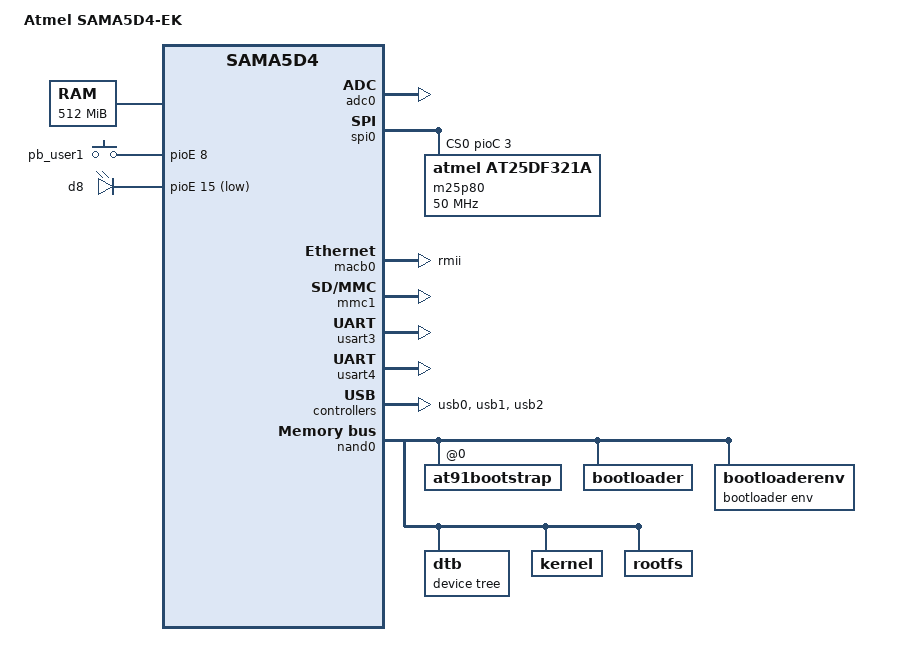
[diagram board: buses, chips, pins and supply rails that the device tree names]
/*
 * sama5d4_xplained.dts - Device Tree file for SAMA5D4 Xplained ULTRA
 *
 *  Copyright (C) 2014 Atmel,
 *                2014 Josh Wu <josh.wu@atmel.com>
 *
 * Licensed under GPLv2 or later.
 */
/dts-v1/;
#include "sama5d4.dtsi"

/ {
	model = "Atmel SAMA5D4-EK";
	compatible = "atmel,sama5d4-xplained", "atmel,sama5d4", "atmel,sama5";

	chosen {
		bootargs = "console=ttyS0,115200 ignore_loglevel earlyprintk";
	};

	memory {
		reg = <0x20000000 0x20000000>;
	};

	clocks {
		#address-cells = <1>;
		#size-cells = <1>;
		ranges;

		main_clock: clock@0 {
			compatible = "atmel,osc", "fixed-clock";
			clock-frequency = <12000000>;
		};
	};

	ahb {
		apb {
			adc0: adc@fc034000 {
				/* The vref depends on JP22 of EK. If connect 1-2 then use 3.3V. connect 2-3 use 3.0V */
				atmel,adc-vref = <3300>;
				/*atmel,adc-ts-wires = <4>;*/	/* Set up ADC touch screen */
				status = "okay";		/* Enable ADC IIO support */
			};

			spi0: spi@f8010000 {
				cs-gpios = <&pioC 3 0>, <0>, <0>, <0>;
				status = "okay";
				m25p80@0 {
					compatible = "atmel,at25df321a";
					spi-max-frequency = <50000000>;
					reg = <0>;
				};
			};

			macb0: ethernet@f8020000 {
				phy-mode = "rmii";
				status = "okay";
			};

			mmc1: mmc@fc000000 {
				pinctrl-names = "default";
				pinctrl-0 = <&pinctrl_mmc1_clk_cmd_dat0 &pinctrl_mmc1_dat1_3 &pinctrl_mmc1_cd>;
				status = "okay";
				slot@0 {
					reg = <0>;
					bus-width = <4>;
					cd-gpios = <&pioE 3 0>;
				};
			};

			usart3: serial@fc00c000 {
				status = "okay";
			};

			usart4: serial@fc010000 {
				status = "okay";
			};

			watchdog@fc068640 {
				status = "okay";
			};

			pinctrl@fc06a000 {
				board {
					pinctrl_mmc1_cd: mmc1_cd {
						atmel,pins =
							<AT91_PIOE 3 AT91_PERIPH_GPIO AT91_PINCTRL_PULL_UP_DEGLITCH>;
					};
					pinctrl_usba_vbus: usba_vbus {
						atmel,pins =
							<AT91_PIOE 31 AT91_PERIPH_GPIO AT91_PINCTRL_DEGLITCH>;
					};
					pinctrl_key_gpio: key_gpio_0 {
						atmel,pins =
							<AT91_PIOE 8 AT91_PERIPH_GPIO AT91_PINCTRL_PULL_UP_DEGLITCH>;
					};
				};
			};
		};

		usb0: gadget@00400000 {
			atmel,vbus-gpio = <&pioE 31 GPIO_ACTIVE_HIGH>;
			pinctrl-names = "default";
			pinctrl-0 = <&pinctrl_usba_vbus>;
			status = "okay";
		};

		usb1: ohci@00500000 {
			num-ports = <3>;
			atmel,vbus-gpio = <0
					   &pioE 11 GPIO_ACTIVE_HIGH
					   &pioE 14 GPIO_ACTIVE_HIGH
					  >;
			status = "okay";
		};

		usb2: ehci@00600000 {
			status = "okay";
		};

		nand0: nand@80000000 {
			nand-bus-width = <8>;
			nand-ecc-mode = "hw";
			nand-on-flash-bbt;
			atmel,has-pmecc;
			status = "okay";

			at91bootstrap@0 {
				label = "at91bootstrap";
				reg = <0x0 0x40000>;
			};

			bootloader@40000 {
				label = "bootloader";
				reg = <0x40000 0x80000>;
			};

			bootloaderenv@c0000 {
				label = "bootloader env";
				reg = <0xc0000 0xc0000>;
			};

			dtb@180000 {
				label = "device tree";
				reg = <0x180000 0x80000>;
			};

			kernel@200000 {
				label = "kernel";
				reg = <0x200000 0x600000>;
			};

			rootfs@800000 {
				label = "rootfs";
				reg = <0x800000 0x0f800000>;
			};
		};
	};

	gpio_keys {
		compatible = "gpio-keys";
		#address-cells = <1>;
		#size-cells = <0>;

		pinctrl-names = "default";
		pinctrl-0 = <&pinctrl_key_gpio>;

		pb_user1 {
			label = "pb_user1";
			gpios = <&pioE 8 GPIO_ACTIVE_HIGH>;
			linux,code = <0x100>;
			gpio-key,wakeup;
		};
	};

	leds {
		compatible = "gpio-leds";
		status = "okay";

		d8 {
			label = "d8";
			gpios = <&pioE 15 GPIO_ACTIVE_LOW>;
			linux,default-trigger = "heartbeat";
		};

		/* pioD is secure, not enable yet
		d10 {
			label = "d10";
			gpios = <&pioD 30 GPIO_ACTIVE_HIGH>;
			status = "disabled";
		}; */
	};
};
